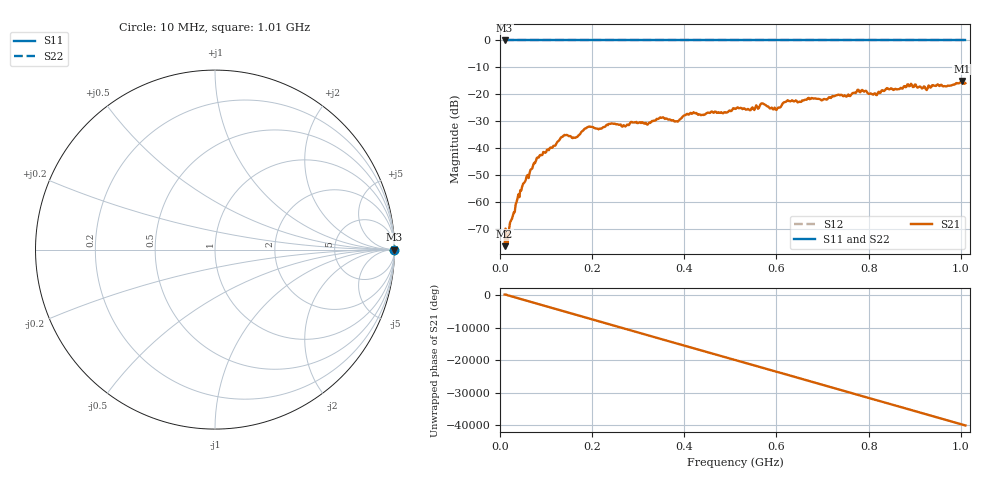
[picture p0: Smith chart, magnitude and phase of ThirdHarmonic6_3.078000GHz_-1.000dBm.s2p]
! 8/17/2025 9:01:07 AM
! C:\ANRITSUVNA\TEMP\TEMP.S2P
! CHANNEL.1
! TR.MEASUREMENT
! RAW.DATA
! RF.CORRECTION.OFF
! AVERAGING.OFF
! IF.BANDWIDTH: 5KHZ
! SWEEPTYPE:  FREQ.SWEEP(Linear)
! Reference Plane Port Info
! PORT:  PORT1  PORT2
! DISTANCE:  0  m  0  m
! TIME:  0  s  0  s
! PHASE.OFFSET:  0  deg.  0  deg.
! LOSS:  0  dB  0  dB
! REF.LOSS:  0  dB  0  dB
! REF.FREQ:  0  Hz  0  Hz
! Power Info
! POWER:  -20  dBm  -20  dBm
! EFF.POWER:  -20  dBm  -20  dBm
! SOURCE.ATTEN:  0  dB  0  dB
! TEST.ATTEN:  0  dB  0  dB
# GHZ S RI R 50.0
! FREQ.GHZ  S11RE  S11IM  S21RE  S21IM  S12RE  S12IM  S22RE  S22IM
!; PortSelection: Port_12
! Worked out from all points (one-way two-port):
!   501 points, 10 MHz to 1.01 GHz, reference 50 ohm
!   highest |S21| = -15.02 dB at 1.002 GHz (marker M1); lowest = -76.3 dB at 10 MHz (marker M2)
!   lowest |S11| = 0.0 dB at 10 MHz (marker M3)
!   |S11| at or under -10 dB: nowhere
!   |S22| runs from 0.0 to 0.0 dB; largest |S21 - S12| = 1.2
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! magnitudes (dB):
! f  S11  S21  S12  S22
! 10 MHz  0.0  -76.3  0.0  0.0
! 18 MHz  0.0  -72.7  0.0  0.0
! 48 MHz  0.0  -54.3  0.0  0.0
! 78 MHz  0.0  -44.6  0.0  0.0
! 136 MHz  0.0  -35.7  0.0  0.0
! 162 MHz  0.0  -36.1  0.0  0.0
! 178 MHz  0.0  -33.7  0.0  0.0
! 194 MHz  0.0  -31.9  0.0  0.0
! 344 MHz  0.0  -29.1  0.0  0.0
! 382 MHz  0.0  -29.9  0.0  0.0
! 416 MHz  0.0  -27.2  0.0  0.0
! 510 MHz  0.0  -25.4  0.0  0.0
! 540 MHz  0.0  -25.6  0.0  0.0
! 570 MHz  0.0  -23.4  0.0  0.0
! 596 MHz  0.0  -24.9  0.0  0.0
! 622 MHz  0.0  -22.6  0.0  0.0
! 678 MHz  0.0  -21.4  0.0  0.0
! 780 MHz  0.0  -19.1  0.0  0.0
! 814 MHz  0.0  -19.6  0.0  0.0
! 844 MHz  0.0  -18.1  0.0  0.0
! 1.002 GHz  0.0  -15.0  0.0  0.0
! 1.01 GHz  0.0  -15.9  0.0  0.0
